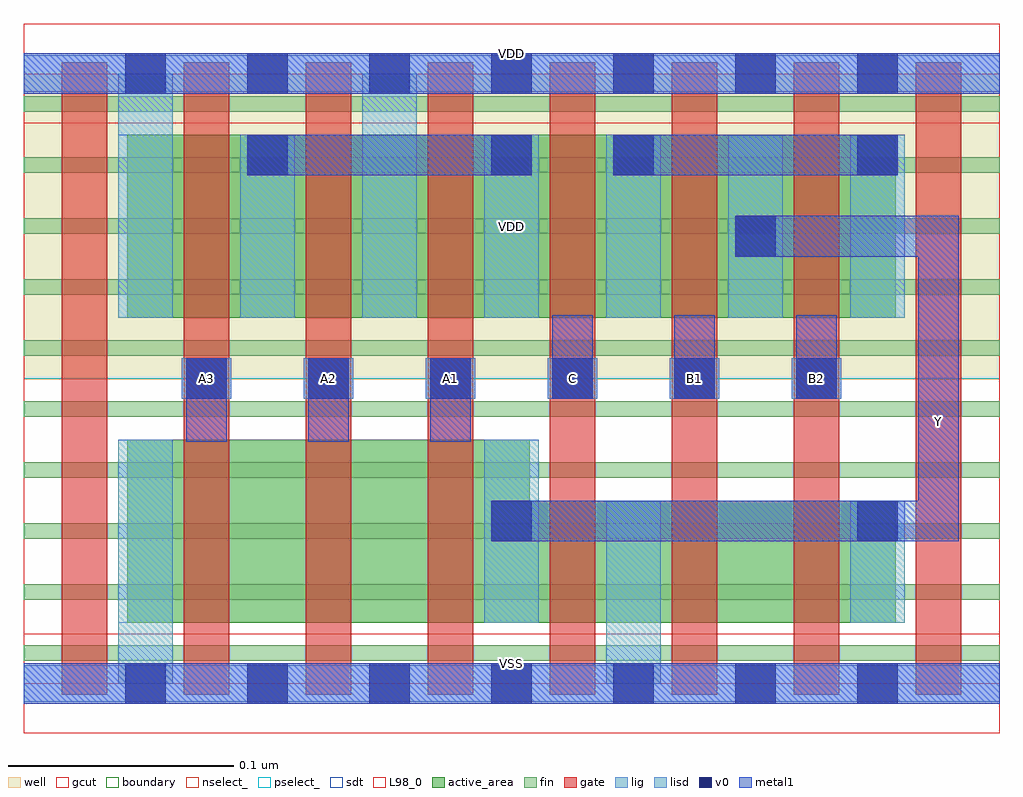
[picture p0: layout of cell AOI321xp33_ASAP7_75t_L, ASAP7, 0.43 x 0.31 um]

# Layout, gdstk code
import gdstk
lib = gdstk.Library(unit=1e-6, precision=2.5e-10)
def R(c, l, rs):  # rectangles x0, y0, x1, y1
    for r in rs: c.add(gdstk.rectangle(r[:2], r[2:], *l))
def A(c, l, x, y, w, h, nx, ny, dx, dy):  # array of equal rectangles
    R(c, l, [(x+i*dx, y+j*dy, x+i*dx+w, y+j*dy+h) for i in range(nx) for j in range(ny)])
def P(c, l, *ps):  # polygons
    for p in ps: c.add(gdstk.Polygon(p, *l))
well = (1, 0)
fin = (2, 0)
gate = (7, 0)
gcut = (10, 0)
active_area = (11, 0)
nselect_ = (12, 0)
pselect_ = (13, 0)
lig = (16, 0)
lisd = (17, 0)
v0 = (18, 0)
metal1 = (19, 0)
sdt = (88, 0)
L98_0 = (98, 0)
boundary = (100, 0)

aoi321xp33_asap7_75t_l = lib.new_cell('AOI321xp33_ASAP7_75t_L')
R(aoi321xp33_asap7_75t_l, well, [(0,0.135,0.432,0.27)])
A(aoi321xp33_asap7_75t_l, fin, 0, 0.01, 0.432, 0.007, 1, 10, 0, 0.027)
A(aoi321xp33_asap7_75t_l, gate, 0.017, -0.005, 0.02, 0.28, 8, 1, 0.054, 0)
R(aoi321xp33_asap7_75t_l, gcut, [(0,-0.022,0.432,0.022), (0,0.248,0.432,0.292)])
R(aoi321xp33_asap7_75t_l, active_area, [(0.046,0.162,0.386,0.243)])
P(aoi321xp33_asap7_75t_l, active_area, [(0.224,0.108),(0.046,0.108),(0.046,0.027),(0.386,0.027),(0.386,0.081),(0.224,0.081)])
R(aoi321xp33_asap7_75t_l, nselect_, [(0,0,0.432,0.135)])
R(aoi321xp33_asap7_75t_l, pselect_, [(0,0.135,0.432,0.27)])
A(aoi321xp33_asap7_75t_l, lig, 0.07, 0.126, 0.022, 0.018, 6, 1, 0.054, 0)
R(aoi321xp33_asap7_75t_l, lig, [(0,-0.008,0.432,0.008), (0,0.262,0.432,0.278)])
A(aoi321xp33_asap7_75t_l, lisd, 0.204, 0.162, 0.024, 0.081, 4, 1, 0.054, 0)
R(aoi321xp33_asap7_75t_l, lisd, [(0.042,0,0.066,0.108), (0.042,0,0.066,0.108), (0.258,0,0.282,0.081), (0.258,0,0.282,0.081), (0.204,0.027,0.228,0.108), (0.366,0.027,0.39,0.081), (0.042,0.162,0.066,0.27), (0.042,0.162,0.066,0.27), (0.096,0.162,0.12,0.243), (0.15,0.162,0.174,0.27), (0.15,0.162,0.174,0.27)])
A(aoi321xp33_asap7_75t_l, v0, 0.045, -0.009, 0.018, 0.018, 7, 2, 0.054, 0.27)
A(aoi321xp33_asap7_75t_l, v0, 0.072, 0.126, 0.018, 0.018, 6, 1, 0.054, 0)
R(aoi321xp33_asap7_75t_l, v0, [(0.207,0.063,0.225,0.081), (0.369,0.063,0.387,0.081), (0.315,0.189,0.333,0.207), (0.099,0.225,0.117,0.243), (0.207,0.225,0.225,0.243), (0.261,0.225,0.279,0.243), (0.369,0.225,0.387,0.243)])
A(aoi321xp33_asap7_75t_l, metal1, 0.072, 0.107, 0.018, 0.037, 3, 1, 0.054, 0)
A(aoi321xp33_asap7_75t_l, metal1, 0.072, 0.126, 0.018, 0.018, 6, 1, 0.054, 0)
A(aoi321xp33_asap7_75t_l, metal1, 0.234, 0.126, 0.018, 0.037, 3, 1, 0.054, 0)
R(aoi321xp33_asap7_75t_l, metal1, [(0,-0.009,0.432,0.009), (0.207,0.063,0.225,0.081), (0.369,0.063,0.387,0.081), (0.315,0.189,0.333,0.207), (0.099,0.225,0.117,0.243), (0.099,0.225,0.225,0.243), (0.207,0.225,0.225,0.243), (0.261,0.225,0.279,0.243), (0.261,0.225,0.387,0.243), (0.369,0.225,0.387,0.243), (0,0.261,0.432,0.279)])
P(aoi321xp33_asap7_75t_l, metal1, [(0.315,0.207),(0.315,0.189),(0.396,0.189),(0.396,0.081),(0.207,0.081),(0.207,0.063),(0.414,0.063),(0.414,0.207)])
A(aoi321xp33_asap7_75t_l, sdt, 0.042, 0.162, 0.024, 0.081, 3, 1, 0.054, 0)
A(aoi321xp33_asap7_75t_l, sdt, 0.15, 0.162, 0.024, 0.081, 5, 1, 0.054, 0)
R(aoi321xp33_asap7_75t_l, sdt, [(0.042,0.027,0.066,0.108), (0.042,0.027,0.066,0.108), (0.204,0.027,0.228,0.108), (0.258,0.027,0.282,0.081), (0.258,0.027,0.282,0.081), (0.366,0.027,0.39,0.081), (0.042,0.162,0.066,0.243)])
R(aoi321xp33_asap7_75t_l, L98_0, [(0,0,0.432,0.27)])
R(aoi321xp33_asap7_75t_l, boundary, [(0,0,0.432,0.27)])
aoi321xp33_asap7_75t_l.add(gdstk.Label('VDD', (0.216,0.2025), layer=1, texttype=251))
aoi321xp33_asap7_75t_l.add(gdstk.Label('VSS', (0.216,-0.0675), layer=3, texttype=251))
aoi321xp33_asap7_75t_l.add(gdstk.Label('VSS', (0.216,0.009), layer=19, texttype=251))
aoi321xp33_asap7_75t_l.add(gdstk.Label('VDD', (0.216,0.279), layer=19, texttype=251))
aoi321xp33_asap7_75t_l.add(gdstk.Label('A3', (0.081,0.135), layer=19, texttype=251))
aoi321xp33_asap7_75t_l.add(gdstk.Label('A2', (0.135,0.135), layer=19, texttype=251))
aoi321xp33_asap7_75t_l.add(gdstk.Label('A1', (0.189,0.135), layer=19, texttype=251))
aoi321xp33_asap7_75t_l.add(gdstk.Label('Y', (0.405,0.116), layer=19, texttype=251))
aoi321xp33_asap7_75t_l.add(gdstk.Label('C', (0.243,0.135), layer=19, texttype=251))
aoi321xp33_asap7_75t_l.add(gdstk.Label('B1', (0.297,0.135), layer=19, texttype=251))
aoi321xp33_asap7_75t_l.add(gdstk.Label('B2', (0.351,0.135), layer=19, texttype=251))

lib.write_gds('AOI321xp33_ASAP7_75t_L.gds')
